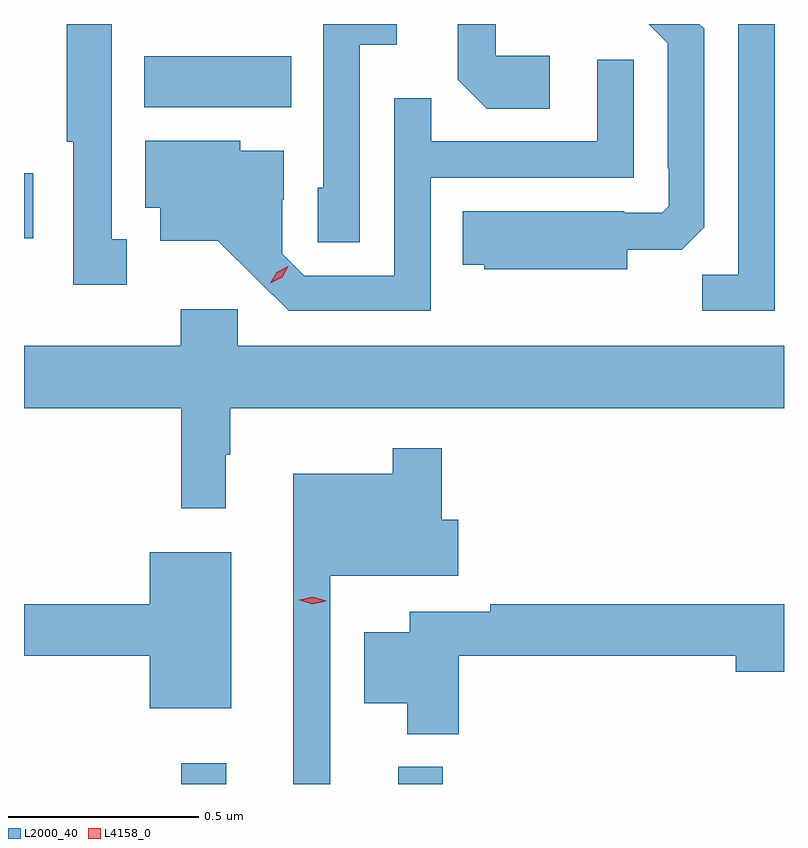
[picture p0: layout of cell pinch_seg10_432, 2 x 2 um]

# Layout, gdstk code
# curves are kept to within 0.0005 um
import gdstk
lib = gdstk.Library(unit=1e-6, precision=1e-09)
def R(c, l, rs):  # rectangles x0, y0, x1, y1
    for r in rs: c.add(gdstk.rectangle(r[:2], r[2:], *l))
def P(c, l, *ps):  # polygons
    for p in ps: c.add(gdstk.Polygon(p, *l))
L2000_40 = (2000, 40)
L4158_0 = (4158, 0)

pinch_seg10_432 = lib.new_cell('pinch_seg10_432')
R(pinch_seg10_432, L2000_40, [(593.899,1283.343,594.017,1283.398), (594.47,1283.343,594.587,1283.389), (593.485,1284.779,593.509,1284.95), (593.801,1285.124,594.188,1285.258)])
P(pinch_seg10_432, L2000_40, [(595.461,1285.343),(595.365,1285.343),(595.365,1284.683),(595.27,1284.683),(595.27,1284.588),(595.461,1284.588)],
  [(594.369,1285.289),(594.466,1285.289),(594.466,1285.343),(594.273,1285.343),(594.273,1284.912),(594.258,1284.912),(594.258,1284.769),(594.369,1284.769)],
  [(595.072,1284.749),(595.216,1284.749),(595.275,1284.808),(595.275,1285.33),(595.262,1285.343),(595.129,1285.343),(595.179,1285.293),(595.179,1284.964),(595.182,1284.964),(595.182,1284.864),(595.164,1284.846),(595.064,1284.846),(595.064,1284.85),(594.64,1284.85),(594.64,1284.71),(594.696,1284.71),(594.696,1284.698),(595.072,1284.698)],
  [(593.755,1284.777),(593.716,1284.777),(593.716,1285.343),(593.598,1285.343),(593.598,1285.033),(593.615,1285.033),(593.615,1284.657),(593.755,1284.657)],
  [(594.868,1285.26),(594.726,1285.26),(594.726,1285.343),(594.627,1285.343),(594.627,1285.196),(594.703,1285.12),(594.868,1285.12)],
  [(594.555,1284.939),(595.089,1284.939),(595.089,1285.249),(594.993,1285.249),(594.993,1285.035),(594.557,1285.035),(594.557,1285.148),(594.459,1285.148),(594.459,1284.681),(594.222,1284.681),(594.165,1284.738),(594.165,1284.88),(594.169,1284.88),(594.169,1285.009),(594.054,1285.009),(594.054,1285.036),(593.804,1285.036),(593.804,1284.86),(593.843,1284.86),(593.843,1284.773),(593.995,1284.773),(594.182,1284.588),(594.555,1284.588)],
  [(594.016,1284.209),(594.028,1284.209),(594.028,1284.332),(595.485,1284.332),(595.485,1284.496),(594.048,1284.496),(594.048,1284.592),(593.897,1284.592),(593.897,1284.496),(593.485,1284.496),(593.485,1284.332),(593.899,1284.332),(593.899,1284.069),(594.016,1284.069)],
  [(594.291,1283.891),(594.628,1283.891),(594.628,1284.039),(594.584,1284.039),(594.584,1284.226),(594.456,1284.226),(594.456,1284.16),(594.194,1284.16),(594.194,1283.343),(594.291,1283.343)],
  [(594.031,1283.953),(593.816,1283.953),(593.816,1283.816),(593.485,1283.816),(593.485,1283.68),(593.816,1283.68),(593.816,1283.543),(594.031,1283.543)],
  [(594.629,1283.68),(595.358,1283.68),(595.358,1283.638),(595.485,1283.638),(595.485,1283.816),(594.712,1283.816),(594.712,1283.796),(594.5,1283.796),(594.5,1283.743),(594.38,1283.743),(594.38,1283.555),(594.494,1283.555),(594.494,1283.474),(594.629,1283.474)])
P(pinch_seg10_432, L4158_0, [(594.244,1283.816),(594.21,1283.827),(594.209,1283.828),(594.21,1283.828),(594.245,1283.836),(594.28,1283.825),(594.28,1283.825),(594.28,1283.824)],
  [(594.133,1284.661),(594.133,1284.661),(594.15,1284.69),(594.181,1284.706),(594.181,1284.706),(594.181,1284.705),(594.164,1284.676),(594.133,1284.661)])

lib.write_gds('pinch_seg10_432.gds')
